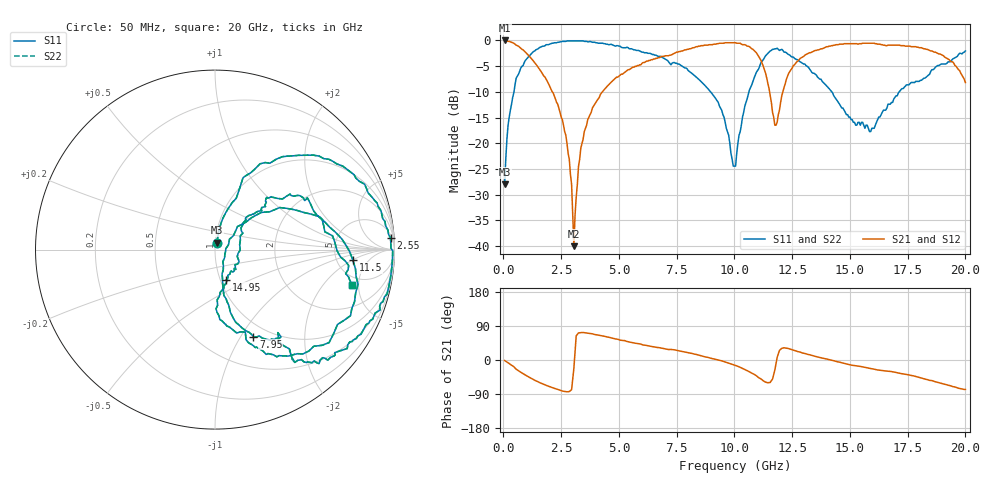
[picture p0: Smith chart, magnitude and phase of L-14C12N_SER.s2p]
#	mhz	s	ma	r	50
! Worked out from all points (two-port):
!   400 points, 50 MHz to 20 GHz, reference 50 ohm
!   highest |S21| = 0.00 dB at 50 MHz (marker M1); lowest = -40.0 dB at 3.05 GHz (marker M2)
!   |S21| within 3 dB of the highest: 6.99 GHz to 11.04 GHz (4.047 GHz wide, 44.9 % of centre); 13.02 GHz to 19.06 GHz (6.035 GHz wide, 37.6 % of centre) (the widest 2 of 3)
!   lowest |S11| = -28.0 dB at 50 MHz (marker M3), VSWR 1.08, Z = 50.8 + j3.96 ohm
!   |S11| at or under -10 dB: start of sweep to 455.6 MHz; 8.969 GHz to 10.63 GHz (1.659 GHz wide, 16.9 % of centre); 14.22 GHz to 17.13 GHz (2.913 GHz wide, 18.6 % of centre)
!   |S22| runs from -28.0 to -0.1 dB; largest |S21 - S12| = 0
!   S11 on the Smith chart (normalised r, x): 50 MHz: 1.02, +0.08; 2.55 GHz: 8, +28; 7.95 GHz: 0.84, -1.14; 11.5 GHz: 7.11, -2.02; 14.95 GHz: 1.07, -0.37; 20 GHz: 4.04, -4.19
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50  0.04 76.4  1 -1.3  1 -1.3  0.04 76.4
200  0.15 77.2  0.98 -7.3  0.98 -7.3  0.15 77.2
550  0.43 68.7  0.9 -24.3  0.9 -24.3  0.43 68.7
1300  0.78 41.9  0.63 -51.6  0.63 -51.6  0.78 41.9
2550  0.98 3.8  0.17 -81.9  0.17 -81.9  0.98 3.8
2950  0.99 -5.0  0.04 -78.5  0.04 -78.5  0.99 -5.0
3050  0.99 -7.2  0.01 -21.2  0.01 -21.2  0.99 -7.2
3400  0.99 -13.7  0.1 72.5  0.1 72.5  0.99 -13.7
4400  0.93 -32.2  0.34 62.1  0.34 62.1  0.93 -32.2
6700  0.7 -53.6  0.68 32.8  0.68 32.8  0.7 -53.6
7950  0.53 -66.2  0.82 19.8  0.82 19.8  0.53 -66.2
9300  0.25 -78.8  0.93 0.1  0.93 0.1  0.25 -78.8
10050  0.06 4.0  0.95 -14.4  0.95 -14.4  0.06 4.0
10650  0.33 38.8  0.87 -30.9  0.87 -30.9  0.33 38.8
11500  0.77 -4.3  0.34 -59.6  0.34 -59.6  0.77 -4.3
11800  0.83 -23.3  0.15 -9.9  0.15 -9.9  0.83 -23.3
12350  0.73 -53.3  0.48 30.0  0.48 30.0  0.73 -53.3
13350  0.49 -69.8  0.77 12.0  0.77 12.0  0.49 -69.8
14950  0.18 -69.5  0.93 -11.8  0.93 -11.8  0.18 -69.5
16700  0.24 44.6  0.9 -29.8  0.9 -29.8  0.24 44.6
18950  0.59 29.3  0.73 -61.5  0.73 -61.5  0.59 29.3
20000  0.79 -14.3  0.39 -77.7  0.39 -77.7  0.79 -14.3
